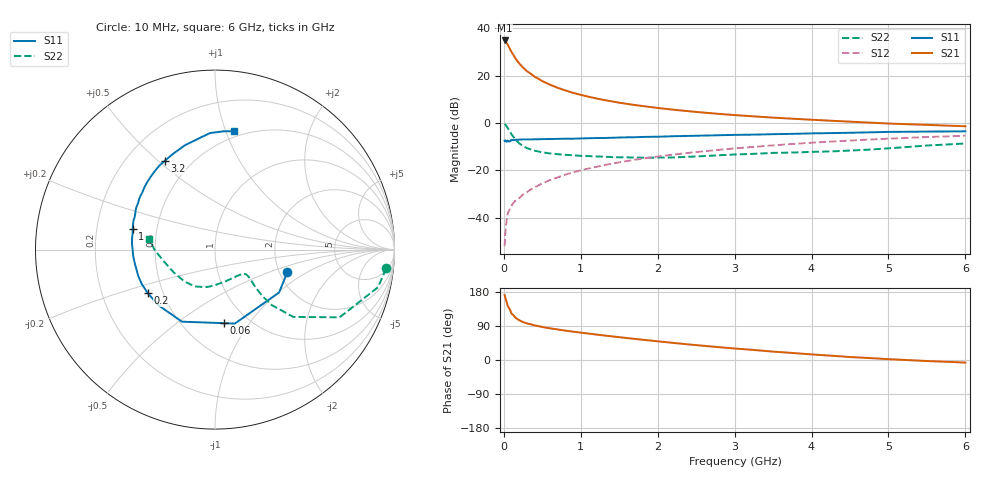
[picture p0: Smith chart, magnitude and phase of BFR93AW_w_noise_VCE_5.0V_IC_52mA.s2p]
! Infineon Technologies  Discrete & RF Semiconductors
! BFR93AW
! VCE =  5.0 V,  IC =  52 mA
! Common Emitter S-Parameters:  Jan 2017
# GHz  S  MA  R  50
!  f  S11  S21  S12  S22
! GHz  MAG  ANG  MAG  ANG  MAG  ANG  MAG  ANG
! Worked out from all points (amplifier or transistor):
!   77 points, 10 MHz to 6 GHz, reference 50 ohm
!   highest |S21| = 34.9 dB at 10 MHz (marker M1)
!   |S21| within 3 dB of that: start of sweep to 69.89 MHz
!   unconditionally stable (mu >= 1): 469.3 MHz to 2.057 GHz
!   at 130 MHz: K = 0.62, MSG = 31.0 dB, |S12| = -33.6 dB
!   at 2.2 GHz: K = 0.99, MSG = 9.5 dB, |S12| = -13.4 dB
!   at 6 GHz: K = 0.89, MSG = 2.0 dB, |S12| = -5.4 dB
!   lowest NFmin = 2.34 dB at 450 MHz
!   S11 on the Smith chart (normalised r, x): 10 MHz: 2.21, -0.68; 60 MHz: 0.78, -0.77; 200 MHz: 0.41, -0.25; 1 GHz: 0.36, +0.11; 3.2 GHz: 0.36, +0.52; 6 GHz: 0.45, +1.07
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0.01  0.4223 -17.3  55.61 171.3  0.0025 81.0  0.9592 -6.3
0.02  0.4298 -33.8  54.74 163.3  0.0048 83.5  0.9321 -13.0
0.05  0.4267 -75.0  45.35 142.9  0.012 70.5  0.7902 -28.5
0.06  0.4133 -82.8  42.28 139.9  0.0132 68.5  0.7449 -30.4
0.1  0.4416 -114.6  31.67 122.6  0.018 63.1  0.5747 -40.7
0.15  0.4417 -135.1  23.27 111.7  0.0229 60.4  0.4448 -44.3
0.2  0.4463 -147.0  18.16 104.9  0.0261 63.5  0.3717 -44.5
0.25  0.451 -155.1  14.86 100.0  0.0308 64.9  0.3264 -43.5
0.3  0.4521 -161.0  12.5 96.6  0.0348 66.7  0.295 -42.3
0.4  0.4528 -169.2  9.544 91.2  0.0436 68.9  0.2605 -40.1
0.5  0.4571 -175.4  7.688 87.1  0.0529 70.6  0.2401 -38.9
0.6  0.4591 180.0  6.46 83.6  0.0624 71.3  0.2278 -38.5
0.7  0.4634 176.1  5.558 80.6  0.0712 72.3  0.2194 -38.6
1  0.4726 166.2  3.944 72.2  0.0999 71.7  0.2027 -41.9
1.1  0.4774 163.2  3.6 69.8  0.1095 71.5  0.2004 -43.8
1.5  0.4943 153.4  2.693 60.2  0.1475 69.3  0.1889 -53.5
2.1  0.5198 140.1  1.998 47.3  0.2052 64.5  0.1865 -74.3
3.1  0.5647 121.4  1.436 28.8  0.2998 55.0  0.219 -107.9
3.2  0.5679 119.6  1.401 27.3  0.309 54.0  0.222 -110.8
4.1  0.6075 104.8  1.152 13.4  0.3924 44.6  0.2475 -137.4
5.1  0.6514 91.1  0.964 1.3  0.4755 33.5  0.2998 -169.9
6  0.6683 80.7  0.855 -6.8  0.54 23.4  0.3704 171.1
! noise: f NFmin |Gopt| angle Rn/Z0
0.45  2.34  0.27  -177  0.18
0.9  2.64  0.32  -166  0.18
1.9  3.79  0.54  -132  0.44
2.4  4.52  0.58  -122  0.81
